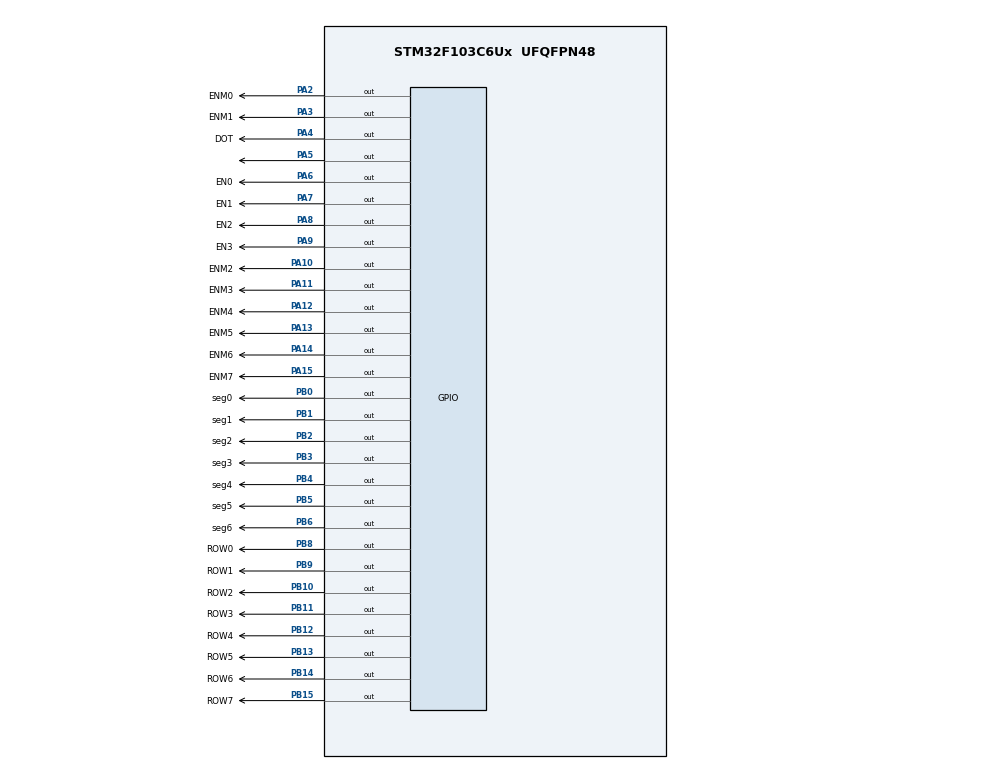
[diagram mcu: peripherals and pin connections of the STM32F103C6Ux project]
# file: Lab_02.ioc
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Mcu.Family=STM32F1
Mcu.Name=STM32F103C6Ux
Mcu.Package=UFQFPN48
NVIC.PriorityGroup=NVIC_PRIORITYGROUP_4
NVIC.TIM2_IRQn=true\:0\:0\:false\:false\:true\:true\:true\:true
PA10.GPIO_Label=ENM2
PA10.Signal=GPIO_Output
PA11.GPIO_Label=ENM3
PA11.Signal=GPIO_Output
PA12.GPIO_Label=ENM4
PA12.Signal=GPIO_Output
PA13.GPIO_Label=ENM5
PA13.Signal=GPIO_Output
PA14.GPIO_Label=ENM6
PA14.Signal=GPIO_Output
PA15.GPIO_Label=ENM7
PA15.Signal=GPIO_Output
PA2.GPIO_Label=ENM0
PA2.Signal=GPIO_Output
PA3.GPIO_Label=ENM1
PA3.Signal=GPIO_Output
PA4.GPIO_Label=DOT
PA4.Signal=GPIO_Output
PA5.PinState=GPIO_PIN_SET
PA5.Signal=GPIO_Output
PA6.GPIO_Label=EN0
PA6.PinState=GPIO_PIN_RESET
PA6.Signal=GPIO_Output
PA7.GPIO_Label=EN1
PA7.PinState=GPIO_PIN_RESET
PA7.Signal=GPIO_Output
PA8.GPIO_Label=EN2
PA8.Signal=GPIO_Output
PA9.GPIO_Label=EN3
PA9.Signal=GPIO_Output
PB0.GPIO_Label=seg0
PB0.Signal=GPIO_Output
PB1.GPIO_Label=seg1
PB1.Signal=GPIO_Output
PB10.GPIO_Label=ROW2
PB10.Signal=GPIO_Output
PB11.GPIO_Label=ROW3
PB11.Signal=GPIO_Output
PB12.GPIO_Label=ROW4
PB12.Signal=GPIO_Output
PB13.GPIO_Label=ROW5
PB13.Signal=GPIO_Output
PB14.GPIO_Label=ROW6
PB14.Signal=GPIO_Output
PB15.GPIO_Label=ROW7
PB15.Signal=GPIO_Output
PB2.GPIO_Label=seg2
PB2.Signal=GPIO_Output
PB3.GPIO_Label=seg3
PB3.Signal=GPIO_Output
PB4.GPIO_Label=seg4
PB4.Signal=GPIO_Output
PB5.GPIO_Label=seg5
PB5.Signal=GPIO_Output
PB6.GPIO_Label=seg6
PB6.Signal=GPIO_Output
PB8.GPIO_Label=ROW0
PB8.Signal=GPIO_Output
PB9.GPIO_Label=ROW1
PB9.Signal=GPIO_Output
ProjectManager.HeapSize=0x200
ProjectManager.StackSize=0x400
ProjectManager.TargetToolchain=Makefile
RCC.APB1Freq_Value=8000000
RCC.APB2Freq_Value=8000000
TIM2.Period=9
TIM2.Prescaler=7999
VP_SYS_VS_ND.Mode=No_Debug
VP_TIM2_VS_ClockSourceINT.Mode=Internal
board=custom

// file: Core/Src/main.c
/* USER CODE BEGIN Header */
/**
  ******************************************************************************
  * @file           : main.c
  * @brief          : Main program body
  ******************************************************************************
  * @attention
  *
  * Copyright (c) 2024 STMicroelectronics.
  * All rights reserved.
  *
  * This software is licensed under terms that can be found in the LICENSE file
  * in the root directory of this software component.
  * If no LICENSE file comes with this software, it is provided AS-IS.
  *
  ******************************************************************************
  */
/* USER CODE END Header */
#include "main.h"

/* USER CODE BEGIN Includes */
#include "led7seg.h"
#include "timer.h"
#include "led_matrix.c"
/* USER CODE END Includes */

/* USER CODE BEGIN PD */
#define delay_led7seg_init 11
#define delay_led_init 1000
/* USER CODE END PD */

TIM_HandleTypeDef htim2;

/* USER CODE BEGIN PV */
int led_toggle = 0; // Toggle flag for LED
/* USER CODE END PV */

void SystemClock_Config(void);
static void MX_GPIO_Init(void);
static void MX_TIM2_Init(void);

/* USER CODE BEGIN 0 */

// Timer interrupt callback function
int current_display = 0;
int led_buffer [4];
int index_led = 0;
const int MAX_LED = 4;

int hour = 15,  minute = 59, second = 50;
void updateClockBuffer (){
    led_buffer[0] = hour/10;
    led_buffer[1] = hour % 10;
    led_buffer[2] = minute / 10;
    led_buffer[3] = minute % 10;
}

void HAL_TIM_PeriodElapsedCallback(TIM_HandleTypeDef *htim)
{
  if (htim->Instance == TIM2)
  {
    timer_run();
  }
}

/* USER CODE END 0 */

int main(void)
{

  /* MCU Configuration--------------------------------------------------------*/

  /* Reset of all peripherals, Initializes the Flash interface and the Systick. */
  HAL_Init();

  /* Configure the system clock */
  SystemClock_Config();

  /* Initialize all configured peripherals */
  MX_GPIO_Init();
  MX_TIM2_Init();
  /* USER CODE BEGIN 2 */
  HAL_TIM_Base_Start_IT(&htim2);
  set_timer(0, delay_led_init);
  set_timer(1, delay_led7seg_init);

  set_timer(2, 1000);
  set_timer(3, 10);
  // timerFLag[2] = 1;
  /* USER CODE END 2 */

  /* Infinite loop */
  /* USER CODE BEGIN WHILE */
  while (1)
  {
    if (timerFLag[0] == 1)
    {
      HAL_GPIO_TogglePin(GPIOA, GPIO_PIN_4);
      set_timer(0, delay_led_init);
    }

    if (timerFLag[1] == 1)
    {
      update7SEG(index_led++);
      if(index_led >= MAX_LED)  index_led = 0;
      set_timer(1, delay_led7seg_init);
    }
    if(timerFLag[2] == 1){
      second++;
      if(second >= 60){
        second = 0;
        minute++;
      }
      if(minute >= 60){
        minute = 0;
        hour++;
      }
      if(hour >= 24){
        hour = 0;
      }
      updateClockBuffer();
      // HAL_Delay(1000);
      set_timer(2, 1000);
    }

    if(timerFLag[3] == 1){
      updateLEDMatrix(index_led_matrix++);
      if(index_led_matrix >= MAX_LED_MATRIX){
        index_led_matrix = 0;
      }
      set_timer(3, 10);
    }
    /* USER CODE END WHILE */

  }
}

void SystemClock_Config(void)
{
  RCC_OscInitTypeDef RCC_OscInitStruct = {0};
  RCC_ClkInitTypeDef RCC_ClkInitStruct = {0};

  /** Initializes the RCC Oscillators according to the specified parameters
  * in the RCC_OscInitTypeDef structure.
  */
  RCC_OscInitStruct.OscillatorType = RCC_OSCILLATORTYPE_HSI;
  RCC_OscInitStruct.HSIState = RCC_HSI_ON;
  RCC_OscInitStruct.HSICalibrationValue = RCC_HSICALIBRATION_DEFAULT;
  RCC_OscInitStruct.PLL.PLLState = RCC_PLL_NONE;
  if (HAL_RCC_OscConfig(&RCC_OscInitStruct) != HAL_OK)
  {
    Error_Handler();
  }

  /** Initializes the CPU, AHB and APB buses clocks
  */
  RCC_ClkInitStruct.ClockType = RCC_CLOCKTYPE_HCLK|RCC_CLOCKTYPE_SYSCLK
                              |RCC_CLOCKTYPE_PCLK1|RCC_CLOCKTYPE_PCLK2;
  RCC_ClkInitStruct.SYSCLKSource = RCC_SYSCLKSOURCE_HSI;
  RCC_ClkInitStruct.AHBCLKDivider = RCC_SYSCLK_DIV1;
  RCC_ClkInitStruct.APB1CLKDivider = RCC_HCLK_DIV1;
  RCC_ClkInitStruct.APB2CLKDivider = RCC_HCLK_DIV1;

  if (HAL_RCC_ClockConfig(&RCC_ClkInitStruct, FLASH_LATENCY_0) != HAL_OK)
  {
    Error_Handler();
  }
}

static void MX_TIM2_Init(void)
{

  TIM_ClockConfigTypeDef sClockSourceConfig = {0};
  TIM_MasterConfigTypeDef sMasterConfig = {0};

  htim2.Instance = TIM2;
  htim2.Init.Prescaler = 7999;
  htim2.Init.CounterMode = TIM_COUNTERMODE_UP;
  htim2.Init.Period = 9;
  htim2.Init.ClockDivision = TIM_CLOCKDIVISION_DIV1;
  htim2.Init.AutoReloadPreload = TIM_AUTORELOAD_PRELOAD_DISABLE;
  if (HAL_TIM_Base_Init(&htim2) != HAL_OK)
  {
    Error_Handler();
  }
  sClockSourceConfig.ClockSource = TIM_CLOCKSOURCE_INTERNAL;
  if (HAL_TIM_ConfigClockSource(&htim2, &sClockSourceConfig) != HAL_OK)
  {
    Error_Handler();
  }
  sMasterConfig.MasterOutputTrigger = TIM_TRGO_RESET;
  sMasterConfig.MasterSlaveMode = TIM_MASTERSLAVEMODE_DISABLE;
  if (HAL_TIMEx_MasterConfigSynchronization(&htim2, &sMasterConfig) != HAL_OK)
  {
    Error_Handler();
  }

}

static void MX_GPIO_Init(void)
{
  GPIO_InitTypeDef GPIO_InitStruct = {0};

  /* GPIO Ports Clock Enable */
  __HAL_RCC_GPIOA_CLK_ENABLE();
  __HAL_RCC_GPIOB_CLK_ENABLE();

  /*Configure GPIO pin Output Level */
  HAL_GPIO_WritePin(GPIOA, ENM0_Pin|ENM1_Pin|DOT_Pin|EN0_Pin
                          |EN1_Pin|EN2_Pin|EN3_Pin|ENM2_Pin
                          |ENM3_Pin|ENM4_Pin|ENM5_Pin|ENM6_Pin
                          |ENM7_Pin, GPIO_PIN_RESET);

  /*Configure GPIO pin Output Level */
  HAL_GPIO_WritePin(GPIOA, GPIO_PIN_5, GPIO_PIN_SET);

  /*Configure GPIO pin Output Level */
  HAL_GPIO_WritePin(GPIOB, seg0_Pin|seg1_Pin|seg2_Pin|ROW2_Pin
                          |ROW3_Pin|ROW4_Pin|ROW5_Pin|ROW6_Pin
                          |ROW7_Pin|seg3_Pin|seg4_Pin|seg5_Pin
                          |seg6_Pin|ROW0_Pin|ROW1_Pin, GPIO_PIN_RESET);

  /*Configure GPIO pins : ENM0_Pin ENM1_Pin DOT_Pin PA5
                           EN0_Pin EN1_Pin EN2_Pin EN3_Pin
                           ENM2_Pin ENM3_Pin ENM4_Pin ENM5_Pin
                           ENM6_Pin ENM7_Pin */
  GPIO_InitStruct.Pin = ENM0_Pin|ENM1_Pin|DOT_Pin|GPIO_PIN_5
                          |EN0_Pin|EN1_Pin|EN2_Pin|EN3_Pin
                          |ENM2_Pin|ENM3_Pin|ENM4_Pin|ENM5_Pin
                          |ENM6_Pin|ENM7_Pin;
  GPIO_InitStruct.Mode = GPIO_MODE_OUTPUT_PP;
  GPIO_InitStruct.Pull = GPIO_NOPULL;
  GPIO_InitStruct.Speed = GPIO_SPEED_FREQ_LOW;
  HAL_GPIO_Init(GPIOA, &GPIO_InitStruct);

  /*Configure GPIO pins : seg0_Pin seg1_Pin seg2_Pin ROW2_Pin
                           ROW3_Pin ROW4_Pin ROW5_Pin ROW6_Pin
                           ROW7_Pin seg3_Pin seg4_Pin seg5_Pin
                           seg6_Pin ROW0_Pin ROW1_Pin */
  GPIO_InitStruct.Pin = seg0_Pin|seg1_Pin|seg2_Pin|ROW2_Pin
                          |ROW3_Pin|ROW4_Pin|ROW5_Pin|ROW6_Pin
                          |ROW7_Pin|seg3_Pin|seg4_Pin|seg5_Pin
                          |seg6_Pin|ROW0_Pin|ROW1_Pin;
  GPIO_InitStruct.Mode = GPIO_MODE_OUTPUT_PP;
  GPIO_InitStruct.Pull = GPIO_NOPULL;
  GPIO_InitStruct.Speed = GPIO_SPEED_FREQ_LOW;
  HAL_GPIO_Init(GPIOB, &GPIO_InitStruct);

}

void Error_Handler(void)
{
  __disable_irq();
  while (1)
  {
  }
}
